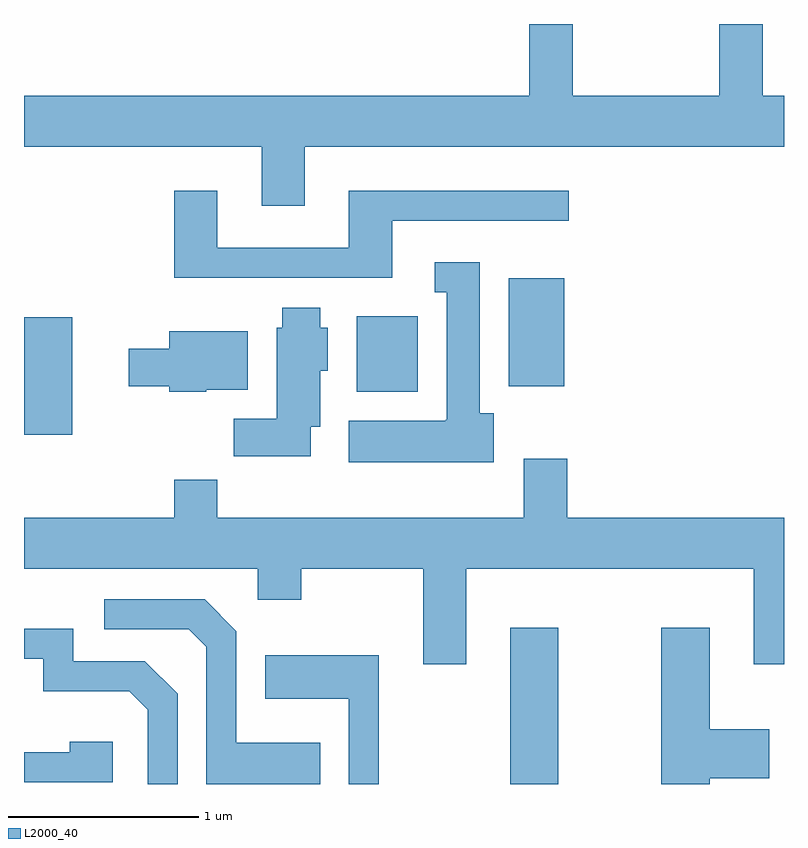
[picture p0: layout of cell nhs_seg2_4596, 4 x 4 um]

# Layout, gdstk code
import gdstk
lib = gdstk.Library(unit=1e-6, precision=1e-09)
def R(c, l, rs):  # rectangles x0, y0, x1, y1
    for r in rs: c.add(gdstk.rectangle(r[:2], r[2:], *l))
def P(c, l, *ps):  # polygons
    for p in ps: c.add(gdstk.Polygon(p, *l))
L2000_40 = (2000, 40)

nhs_seg2_4596 = lib.new_cell('nhs_seg2_4596')
R(nhs_seg2_4596, L2000_40, [(322.171,1093.802,322.424,1094.624), (319.611,1095.641,319.864,1096.259), (321.361,1095.866,321.684,1096.264), (322.161,1095.896,322.454,1096.464)])
P(nhs_seg2_4596, L2000_40, [(321.089,1097.156),(323.611,1097.156),(323.611,1097.424),(323.499,1097.424),(323.499,1097.802),(323.271,1097.802),(323.271,1097.424),(322.499,1097.424),(322.499,1097.802),(322.271,1097.802),(322.271,1097.424),(319.611,1097.424),(319.611,1097.156),(320.861,1097.156),(320.861,1096.846),(321.089,1096.846)],
  [(321.549,1096.766),(322.478,1096.766),(322.478,1096.924),(321.321,1096.924),(321.321,1096.624),(320.629,1096.624),(320.629,1096.924),(320.401,1096.924),(320.401,1096.466),(321.549,1096.466)],
  [(322.084,1095.754),(322.009,1095.754),(322.009,1096.549),(321.773,1096.549),(321.773,1096.391),(321.836,1096.391),(321.836,1095.72),(321.83,1095.72),(321.83,1095.714),(321.321,1095.714),(321.321,1095.496),(322.084,1095.496)],
  [(321.119,1095.681),(321.169,1095.681),(321.169,1095.976),(321.209,1095.976),(321.209,1096.204),(321.169,1096.204),(321.169,1096.309),(320.971,1096.309),(320.971,1096.204),(320.941,1096.204),(320.941,1095.724),(320.716,1095.724),(320.716,1095.526),(321.119,1095.526)],
  [(320.57,1095.876),(320.789,1095.876),(320.789,1096.184),(320.376,1096.184),(320.376,1096.094),(320.161,1096.094),(320.161,1095.896),(320.376,1095.896),(320.376,1095.866),(320.57,1095.866)],
  [(321.939,1094.936),(323.451,1094.936),(323.451,1094.431),(323.611,1094.431),(323.611,1095.204),(322.469,1095.204),(322.469,1095.514),(322.241,1095.514),(322.241,1095.204),(320.629,1095.204),(320.629,1095.404),(320.401,1095.404),(320.401,1095.204),(319.611,1095.204),(319.611,1094.936),(320.841,1094.936),(320.841,1094.771),(321.069,1094.771),(321.069,1094.936),(321.711,1094.936),(321.711,1094.431),(321.939,1094.431)],
  [(321.169,1094.019),(320.729,1094.019),(320.729,1094.607),(320.562,1094.774),(320.033,1094.774),(320.033,1094.616),(320.479,1094.616),(320.571,1094.524),(320.571,1093.802),(321.169,1093.802)],
  [(323.219,1093.831),(323.534,1093.831),(323.534,1094.089),(323.219,1094.089),(323.219,1094.624),(322.966,1094.624),(322.966,1093.802),(323.219,1093.802)],
  [(320.419,1094.277),(320.247,1094.449),(319.869,1094.449),(319.869,1094.619),(319.611,1094.619),(319.611,1094.461),(319.711,1094.461),(319.711,1094.291),(320.164,1094.291),(320.261,1094.194),(320.261,1093.802),(320.419,1093.802)],
  [(321.479,1094.479),(320.881,1094.479),(320.881,1094.251),(321.321,1094.251),(321.321,1093.802),(321.479,1093.802)],
  [(320.079,1094.024),(319.851,1094.024),(319.851,1093.969),(319.611,1093.969),(319.611,1093.811),(320.079,1093.811)])

lib.write_gds('nhs_seg2_4596.gds')
